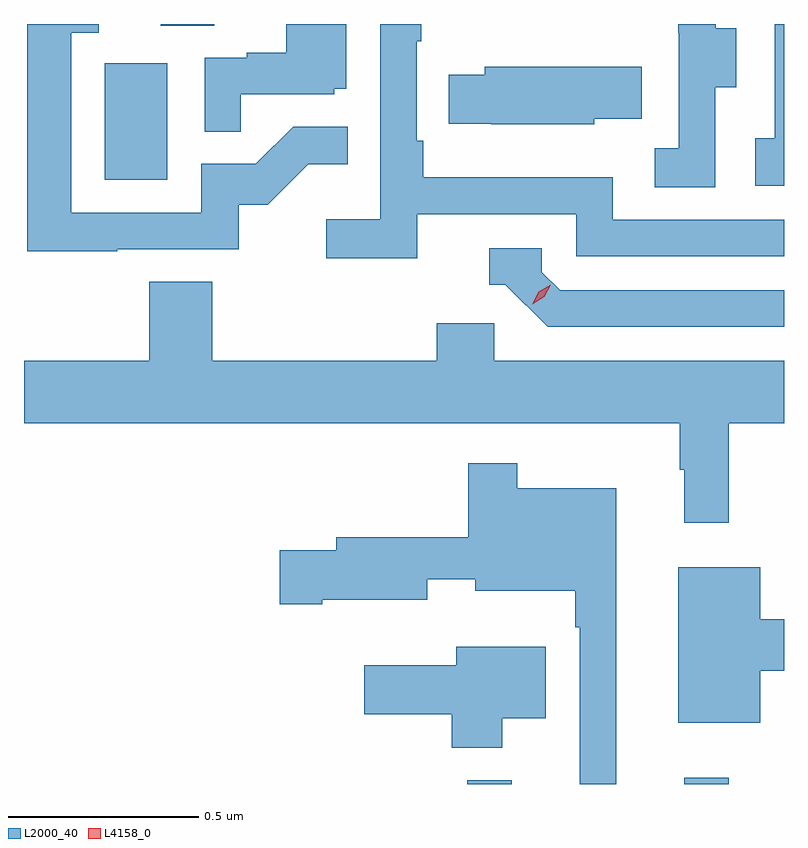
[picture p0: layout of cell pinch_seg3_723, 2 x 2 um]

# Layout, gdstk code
import gdstk
lib = gdstk.Library(unit=1e-6, precision=1e-09)
def R(c, l, rs):  # rectangles x0, y0, x1, y1
    for r in rs: c.add(gdstk.rectangle(r[:2], r[2:], *l))
def P(c, l, *ps):  # polygons
    for p in ps: c.add(gdstk.Polygon(p, *l))
L2000_40 = (2000, 40)
L4158_0 = (4158, 0)

pinch_seg3_723 = lib.new_cell('pinch_seg3_723')
R(pinch_seg3_723, L2000_40, [(1102.891,683.982,1103.009,683.992), (1103.462,683.982,1103.579,683.998), (1101.938,685.572,1102.102,685.879), (1102.085,685.978,1102.225,685.982)])
P(pinch_seg3_723, L2000_40, [(1101.971,685.389),(1102.29,685.389),(1102.29,685.506),(1102.366,685.506),(1102.473,685.613),(1102.577,685.613),(1102.577,685.712),(1102.433,685.712),(1102.335,685.614),(1102.191,685.614),(1102.191,685.485),(1101.849,685.485),(1101.849,685.959),(1101.922,685.959),(1101.922,685.982),(1101.733,685.982),(1101.733,685.384),(1101.971,685.384)],
  [(1103.544,685.816),(1103.599,685.816),(1103.599,685.971),(1103.545,685.971),(1103.545,685.982),(1103.447,685.982),(1103.447,685.959),(1103.448,685.959),(1103.448,685.655),(1103.385,685.655),(1103.385,685.552),(1103.544,685.552)],
  [(1103.725,685.982),(1103.7,685.982),(1103.7,685.682),(1103.649,685.682),(1103.649,685.557),(1103.725,685.557)],
  [(1102.295,685.797),(1102.542,685.797),(1102.542,685.812),(1102.573,685.812),(1102.573,685.982),(1102.415,685.982),(1102.415,685.906),(1102.311,685.906),(1102.311,685.893),(1102.2,685.893),(1102.2,685.699),(1102.295,685.699)],
  [(1102.76,685.482),(1103.178,685.482),(1103.178,685.371),(1103.725,685.371),(1103.725,685.467),(1103.274,685.467),(1103.274,685.579),(1102.775,685.579),(1102.775,685.675),(1102.758,685.675),(1102.758,685.936),(1102.771,685.936),(1102.771,685.982),(1102.662,685.982),(1102.662,685.468),(1102.521,685.468),(1102.521,685.366),(1102.76,685.366)],
  [(1103.226,685.733),(1103.351,685.733),(1103.351,685.87),(1102.937,685.87),(1102.937,685.848),(1102.843,685.848),(1102.843,685.719),(1102.954,685.719),(1102.954,685.718),(1103.226,685.718)],
  [(1103.725,685.281),(1103.136,685.281),(1103.088,685.329),(1103.088,685.392),(1102.949,685.392),(1102.949,685.296),(1102.992,685.296),(1103.103,685.185),(1103.725,685.185)],
  [(1103.579,684.932),(1103.725,684.932),(1103.725,685.096),(1102.962,685.096),(1102.962,685.194),(1102.811,685.194),(1102.811,685.096),(1102.22,685.096),(1102.22,685.304),(1102.055,685.304),(1102.055,685.096),(1101.725,685.096),(1101.725,684.932),(1103.451,684.932),(1103.451,684.809),(1103.462,684.809),(1103.462,684.669),(1103.579,684.669)],
  [(1103.284,684.76),(1103.023,684.76),(1103.023,684.826),(1102.894,684.826),(1102.894,684.631),(1102.547,684.631),(1102.547,684.597),(1102.398,684.597),(1102.398,684.455),(1102.51,684.455),(1102.51,684.467),(1102.786,684.467),(1102.786,684.521),(1102.913,684.521),(1102.913,684.491),(1103.175,684.491),(1103.175,684.395),(1103.187,684.395),(1103.187,683.982),(1103.284,683.982)],
  [(1103.662,684.28),(1103.725,684.28),(1103.725,684.416),(1103.662,684.416),(1103.662,684.553),(1103.447,684.553),(1103.447,684.143),(1103.662,684.143)],
  [(1102.984,684.155),(1103.098,684.155),(1103.098,684.343),(1102.862,684.343),(1102.862,684.295),(1102.62,684.295),(1102.62,684.166),(1102.85,684.166),(1102.85,684.077),(1102.984,684.077)])
P(pinch_seg3_723, L4158_0, [(1103.063,685.244),(1103.063,685.245),(1103.08,685.277),(1103.111,685.296),(1103.111,685.296),(1103.111,685.296),(1103.094,685.264),(1103.063,685.244)])

lib.write_gds('pinch_seg3_723.gds')
